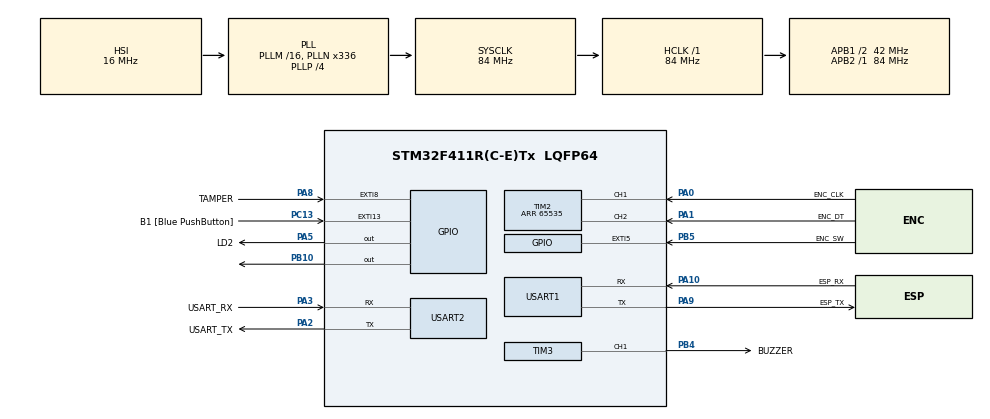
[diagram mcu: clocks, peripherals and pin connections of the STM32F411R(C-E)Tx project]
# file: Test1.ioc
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Mcu.Family=STM32F4
Mcu.Name=STM32F411R(C-E)Tx
Mcu.Package=LQFP64
NVIC.EXTI9_5_IRQn=true\:0\:0\:false\:false\:true\:true\:true\:true
NVIC.PriorityGroup=NVIC_PRIORITYGROUP_0
PA0-WKUP.GPIO_Label=ENC_CLK
PA0-WKUP.GPIO_PuPd=GPIO_PULLUP
PA0-WKUP.Signal=S_TIM2_CH1_ETR
PA1.GPIO_Label=ENC_DT
PA1.GPIO_PuPd=GPIO_PULLUP
PA1.Signal=S_TIM2_CH2
PA10.GPIO_Label=ESP_RX
PA10.Mode=Asynchronous
PA10.Signal=USART1_RX
PA13.Signal=SYS_JTMS-SWDIO
PA14.Signal=SYS_JTCK-SWCLK
PA2.GPIO_Label=USART_TX
PA2.Mode=Asynchronous
PA2.Signal=USART2_TX
PA3.GPIO_Label=USART_RX
PA3.Mode=Asynchronous
PA3.Signal=USART2_RX
PA5.GPIO_Label=LD2
PA5.Signal=GPIO_Output
PA8.GPIO_Label=TAMPER
PA8.GPIO_ModeDefaultEXTI=GPIO_MODE_IT_RISING_FALLING
PA8.GPIO_PuPd=GPIO_PULLUP
PA8.Signal=GPXTI8
PA9.GPIO_Label=ESP_TX
PA9.Mode=Asynchronous
PA9.Signal=USART1_TX
PB10.Signal=GPIO_Output
PB3.GPIO_Label=SWO
PB3.Signal=SYS_JTDO-SWO
PB4.GPIO_Label=BUZZER
PB4.Signal=S_TIM3_CH1
PB5.GPIO_Label=ENC_SW
PB5.GPIO_ModeDefaultEXTI=GPIO_MODE_IT_FALLING
PB5.GPIO_PuPd=GPIO_PULLUP
PB5.Signal=GPXTI5
PC13-ANTI_TAMP.GPIO_Label=B1 [Blue PushButton]
PC13-ANTI_TAMP.GPIO_ModeDefaultEXTI=GPIO_MODE_IT_FALLING
PC13-ANTI_TAMP.Signal=GPXTI13
PC14-OSC32_IN.Mode=LSE-External-Oscillator
PC14-OSC32_IN.Signal=RCC_OSC32_IN
PC15-OSC32_OUT.Mode=LSE-External-Oscillator
PC15-OSC32_OUT.Signal=RCC_OSC32_OUT
PH0\ -\ OSC_IN.Mode=HSE-External-Clock-Source
PH0\ -\ OSC_IN.Signal=RCC_OSC_IN
PH1\ -\ OSC_OUT.Mode=HSE-External-Clock-Source
PH1\ -\ OSC_OUT.Signal=RCC_OSC_OUT
ProjectManager.HeapSize=0x200
ProjectManager.StackSize=0x400
ProjectManager.TargetToolchain=STM32CubeIDE
RCC.48MHZClocksFreq_Value=84000000
RCC.AHBFreq_Value=84000000
RCC.APB1CLKDivider=RCC_HCLK_DIV2
RCC.APB1Freq_Value=42000000
RCC.APB1TimFreq_Value=84000000
RCC.APB2Freq_Value=84000000
RCC.APB2TimFreq_Value=84000000
RCC.CortexFreq_Value=84000000
RCC.FLatency-AdvancedSettings=FLASH_LATENCY_2
RCC.HCLKFreq_Value=84000000
RCC.HSE_VALUE=8000000
RCC.HSI_VALUE=16000000
RCC.PLLN=336
RCC.PLLP=RCC_PLLP_DIV4
RCC.SYSCLKFreq_VALUE=84000000
RCC.SYSCLKSource=RCC_SYSCLKSOURCE_PLLCLK
RCC.VCOOutputFreq_Value=336000000
SH.S_TIM2_CH1_ETR.0=TIM2_CH1,Encoder_Interface
SH.S_TIM2_CH2.0=TIM2_CH2,Encoder_Interface
SH.S_TIM3_CH1.0=TIM3_CH1,PWM Generation1 CH1
TIM2.EncoderMode=TIM_ENCODERMODE_TI12
TIM2.IC1Filter=15
TIM2.IC2Filter=15
TIM2.Period=65535
TIM3.AutoReloadPreload=TIM_AUTORELOAD_PRELOAD_ENABLE
TIM3.Channel-PWM\ Generation1\ CH1=TIM_CHANNEL_1
TIM3.Period=999
TIM3.Prescaler=83
TIM3.Pulse-PWM\ Generation1\ CH1=500
USART1.VirtualMode=VM_ASYNC
USART2.VirtualMode=VM_ASYNC
VP_TIM3_VS_ClockSourceINT.Mode=Internal
board=NUCLEO-F411RE

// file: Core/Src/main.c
/* USER CODE BEGIN Header */
/**
  ******************************************************************************
  * @file           : main.c
  * @brief          : Main program body
  ******************************************************************************
  * @attention
  *
  * Copyright (c) 2026 STMicroelectronics.
  * All rights reserved.
  *
  * This software is licensed under terms that can be found in the LICENSE file
  * in the root directory of this software component.
  * If no LICENSE file comes with this software, it is provided AS-IS.
  *
  ******************************************************************************
  */
/* USER CODE END Header */
#include "main.h"

/* USER CODE BEGIN Includes */
#include <stdio.h>
#include <string.h>
/* USER CODE END Includes */

/* USER CODE BEGIN PD */
/* Select which device test runs. Add one mode per device as it is brought up. */
#define TEST_SMOKE      0   /* LD2 blink + USART2 log + B1 poll */
#define TEST_KY040      1   /* TIM2 encoder (PA0/PA1) + push switch (PB5) */
#define TEST_KY002      2   /* Vibration/tamper switch on PA8 (EXTI both edges) */
#define TEST_KY006      3   /* Passive buzzer on PB4 (TIM3_CH1 PWM) */
#define TEST_UART_LINK  4   /* USART1 PA9/PA10 <-> ESP32-S3 PING/PONG */
#define TEST_MODE       TEST_UART_LINK

#define SMOKE_PERIOD_MS 500U

/* KY-040: 4 quadrature edges per detent in TI1+TI2 (x4) mode. */
#define ENC_COUNTS_PER_DETENT 4
#define ENC_SW_DEBOUNCE_MS    20U
/* 1 = also log raw CLK/DT pin levels on every change (wiring diagnostic). */
#define ENC_PIN_DIAG          0

/* KY-002: a shake produces a burst of edges; the event ends after this
 * much silence. Status line is printed periodically to show the idle level. */
#define TAMPER_QUIET_MS       200U
#define TAMPER_STATUS_MS      5000U

/* KY-006 is driven straight from PB4 with no series resistor, so keep duty
 * low (limits average pin current) and every beep short. TIM3 tick = 1 MHz
 * (PSC=83 in .ioc); frequency is set by changing ARR at runtime. */
#define BUZZER_TICK_HZ        1000000U
#define BUZZER_DUTY_PERCENT   10U
#define BUZZER_MIN_HZ         100U
#define BUZZER_MAX_HZ         10000U
#define BUZZER_MAX_BEEP_MS    300U

/* UART link test (test-only line protocol, not the vault data contract).
 * RX is polled right after each PING, before any USART2 logging, so no
 * USART1 interrupt is needed for this test. */
#define LINK_PING_PERIOD_MS   1000U
#define LINK_REPLY_TIMEOUT_MS 100U
#define LINK_LINE_MAX         32U
#define LINK_STATS_EVERY      10U
/* USER CODE END PD */

TIM_HandleTypeDef htim2;
TIM_HandleTypeDef htim3;

UART_HandleTypeDef huart1;
UART_HandleTypeDef huart2;

/* USER CODE BEGIN PV */
/* Incremented in EXTI ISR; only used to confirm the PB5 interrupt fires. */
static volatile uint32_t enc_sw_irq_count = 0U;
/* Written in EXTI ISR, read in KY002_Test_Loop (32-bit reads are atomic). */
static volatile uint32_t tamper_edge_count = 0U;
static volatile uint32_t tamper_last_edge_tick = 0U;
/* USER CODE END PV */

void SystemClock_Config(void);
static void MX_GPIO_Init(void);
static void MX_USART2_UART_Init(void);
static void MX_TIM2_Init(void);
static void MX_TIM3_Init(void);
static void MX_USART1_UART_Init(void);
/* USER CODE BEGIN PFP */
/* Only one test loop is compiled in per TEST_MODE; silence the others. */
static void Smoke_Test_Loop(void) __attribute__((unused));
static void KY040_Test_Loop(void) __attribute__((unused));
static void KY002_Test_Loop(void) __attribute__((unused));
static void KY006_Test_Loop(void) __attribute__((unused));
static void Buzzer_Off(void) __attribute__((unused));
static void Buzzer_Beep(uint32_t freq_hz, uint32_t duration_ms) __attribute__((unused));
static void UartLink_Test_Loop(void) __attribute__((unused));
/* USER CODE END PFP */

/* USER CODE BEGIN 0 */
/* Route printf() to USART2 (ST-LINK virtual COM port). */
int __io_putchar(int ch)
{
  uint8_t c = (uint8_t)ch;
  HAL_UART_Transmit(&huart2, &c, 1U, HAL_MAX_DELAY);
  return ch;
}
/* USER CODE END 0 */

int main(void)
{

  /* MCU Configuration--------------------------------------------------------*/

  /* Reset of all peripherals, Initializes the Flash interface and the Systick. */
  HAL_Init();

  /* Configure the system clock */
  SystemClock_Config();

  /* Initialize all configured peripherals */
  MX_GPIO_Init();
  MX_USART2_UART_Init();
  MX_TIM2_Init();
  MX_TIM3_Init();
  MX_USART1_UART_Init();
  /* USER CODE BEGIN 2 */
  setvbuf(stdout, NULL, _IONBF, 0);
  printf("\r\n[DevTest] boot, SYSCLK=%lu Hz, TEST_MODE=%d\r\n",
         HAL_RCC_GetSysClockFreq(), TEST_MODE);
#if TEST_MODE == TEST_KY040
  if (HAL_TIM_Encoder_Start(&htim2, TIM_CHANNEL_ALL) != HAL_OK)
  {
    Error_Handler();
  }
  printf("[KY040] ready: rotate knob / press shaft\r\n");
#elif TEST_MODE == TEST_KY002
  printf("[KY002] ready: idle level=%d, tap/shake the sensor\r\n",
         (HAL_GPIO_ReadPin(TAMPER_GPIO_Port, TAMPER_Pin) == GPIO_PIN_SET) ? 1 : 0);
#elif TEST_MODE == TEST_KY006
  /* Start PWM silent (CCR=0); Buzzer_Beep() sets ARR/CCR per tone. */
  Buzzer_Off();
  if (HAL_TIM_PWM_Start(&htim3, TIM_CHANNEL_1) != HAL_OK)
  {
    Error_Handler();
  }
  printf("[KY006] ready: duty=%u%%, press B1 (blue) to replay the sequence\r\n",
         BUZZER_DUTY_PERCENT);
#elif TEST_MODE == TEST_UART_LINK
  /* DWT cycle counter gives microsecond round-trip timing. */
  CoreDebug->DEMCR |= CoreDebug_DEMCR_TRCENA_Msk;
  DWT->CYCCNT = 0U;
  DWT->CTRL |= DWT_CTRL_CYCCNTENA_Msk;
  printf("[LINK] ready: USART1 %lu baud, PING every %u ms\r\n",
         huart1.Init.BaudRate, LINK_PING_PERIOD_MS);
#endif
  /* USER CODE END 2 */

  /* Infinite loop */
  while (1)
  {

    /* USER CODE BEGIN 3 */
#if TEST_MODE == TEST_SMOKE
    Smoke_Test_Loop();
#elif TEST_MODE == TEST_KY040
    KY040_Test_Loop();
#elif TEST_MODE == TEST_KY002
    KY002_Test_Loop();
#elif TEST_MODE == TEST_KY006
    KY006_Test_Loop();
#elif TEST_MODE == TEST_UART_LINK
    UartLink_Test_Loop();
#endif
  }
  /* USER CODE END 3 */
}

void SystemClock_Config(void)
{
  RCC_OscInitTypeDef RCC_OscInitStruct = {0};
  RCC_ClkInitTypeDef RCC_ClkInitStruct = {0};

  /** Configure the main internal regulator output voltage
  */
  __HAL_RCC_PWR_CLK_ENABLE();
  __HAL_PWR_VOLTAGESCALING_CONFIG(PWR_REGULATOR_VOLTAGE_SCALE1);

  /** Initializes the RCC Oscillators according to the specified parameters
  * in the RCC_OscInitTypeDef structure.
  */
  RCC_OscInitStruct.OscillatorType = RCC_OSCILLATORTYPE_HSI;
  RCC_OscInitStruct.HSIState = RCC_HSI_ON;
  RCC_OscInitStruct.HSICalibrationValue = RCC_HSICALIBRATION_DEFAULT;
  RCC_OscInitStruct.PLL.PLLState = RCC_PLL_ON;
  RCC_OscInitStruct.PLL.PLLSource = RCC_PLLSOURCE_HSI;
  RCC_OscInitStruct.PLL.PLLM = 16;
  RCC_OscInitStruct.PLL.PLLN = 336;
  RCC_OscInitStruct.PLL.PLLP = RCC_PLLP_DIV4;
  RCC_OscInitStruct.PLL.PLLQ = 4;
  if (HAL_RCC_OscConfig(&RCC_OscInitStruct) != HAL_OK)
  {
    Error_Handler();
  }

  /** Initializes the CPU, AHB and APB buses clocks
  */
  RCC_ClkInitStruct.ClockType = RCC_CLOCKTYPE_HCLK|RCC_CLOCKTYPE_SYSCLK
                              |RCC_CLOCKTYPE_PCLK1|RCC_CLOCKTYPE_PCLK2;
  RCC_ClkInitStruct.SYSCLKSource = RCC_SYSCLKSOURCE_PLLCLK;
  RCC_ClkInitStruct.AHBCLKDivider = RCC_SYSCLK_DIV1;
  RCC_ClkInitStruct.APB1CLKDivider = RCC_HCLK_DIV2;
  RCC_ClkInitStruct.APB2CLKDivider = RCC_HCLK_DIV1;

  if (HAL_RCC_ClockConfig(&RCC_ClkInitStruct, FLASH_LATENCY_2) != HAL_OK)
  {
    Error_Handler();
  }
}

static void MX_TIM2_Init(void)
{

  TIM_Encoder_InitTypeDef sConfig = {0};
  TIM_MasterConfigTypeDef sMasterConfig = {0};

  htim2.Instance = TIM2;
  htim2.Init.Prescaler = 0;
  htim2.Init.CounterMode = TIM_COUNTERMODE_UP;
  htim2.Init.Period = 65535;
  htim2.Init.ClockDivision = TIM_CLOCKDIVISION_DIV1;
  htim2.Init.AutoReloadPreload = TIM_AUTORELOAD_PRELOAD_DISABLE;
  sConfig.EncoderMode = TIM_ENCODERMODE_TI12;
  sConfig.IC1Polarity = TIM_ICPOLARITY_RISING;
  sConfig.IC1Selection = TIM_ICSELECTION_DIRECTTI;
  sConfig.IC1Prescaler = TIM_ICPSC_DIV1;
  sConfig.IC1Filter = 15;
  sConfig.IC2Polarity = TIM_ICPOLARITY_RISING;
  sConfig.IC2Selection = TIM_ICSELECTION_DIRECTTI;
  sConfig.IC2Prescaler = TIM_ICPSC_DIV1;
  sConfig.IC2Filter = 15;
  if (HAL_TIM_Encoder_Init(&htim2, &sConfig) != HAL_OK)
  {
    Error_Handler();
  }
  sMasterConfig.MasterOutputTrigger = TIM_TRGO_RESET;
  sMasterConfig.MasterSlaveMode = TIM_MASTERSLAVEMODE_DISABLE;
  if (HAL_TIMEx_MasterConfigSynchronization(&htim2, &sMasterConfig) != HAL_OK)
  {
    Error_Handler();
  }

}

static void MX_TIM3_Init(void)
{

  TIM_ClockConfigTypeDef sClockSourceConfig = {0};
  TIM_MasterConfigTypeDef sMasterConfig = {0};
  TIM_OC_InitTypeDef sConfigOC = {0};

  htim3.Instance = TIM3;
  htim3.Init.Prescaler = 83;
  htim3.Init.CounterMode = TIM_COUNTERMODE_UP;
  htim3.Init.Period = 999;
  htim3.Init.ClockDivision = TIM_CLOCKDIVISION_DIV1;
  htim3.Init.AutoReloadPreload = TIM_AUTORELOAD_PRELOAD_ENABLE;
  if (HAL_TIM_Base_Init(&htim3) != HAL_OK)
  {
    Error_Handler();
  }
  sClockSourceConfig.ClockSource = TIM_CLOCKSOURCE_INTERNAL;
  if (HAL_TIM_ConfigClockSource(&htim3, &sClockSourceConfig) != HAL_OK)
  {
    Error_Handler();
  }
  if (HAL_TIM_PWM_Init(&htim3) != HAL_OK)
  {
    Error_Handler();
  }
  sMasterConfig.MasterOutputTrigger = TIM_TRGO_RESET;
  sMasterConfig.MasterSlaveMode = TIM_MASTERSLAVEMODE_DISABLE;
  if (HAL_TIMEx_MasterConfigSynchronization(&htim3, &sMasterConfig) != HAL_OK)
  {
    Error_Handler();
  }
  sConfigOC.OCMode = TIM_OCMODE_PWM1;
  sConfigOC.Pulse = 500;
  sConfigOC.OCPolarity = TIM_OCPOLARITY_HIGH;
  sConfigOC.OCFastMode = TIM_OCFAST_DISABLE;
  if (HAL_TIM_PWM_ConfigChannel(&htim3, &sConfigOC, TIM_CHANNEL_1) != HAL_OK)
  {
    Error_Handler();
  }
  HAL_TIM_MspPostInit(&htim3);

}

static void MX_USART1_UART_Init(void)
{

  huart1.Instance = USART1;
  huart1.Init.BaudRate = 115200;
  huart1.Init.WordLength = UART_WORDLENGTH_8B;
  huart1.Init.StopBits = UART_STOPBITS_1;
  huart1.Init.Parity = UART_PARITY_NONE;
  huart1.Init.Mode = UART_MODE_TX_RX;
  huart1.Init.HwFlowCtl = UART_HWCONTROL_NONE;
  huart1.Init.OverSampling = UART_OVERSAMPLING_16;
  if (HAL_UART_Init(&huart1) != HAL_OK)
  {
    Error_Handler();
  }

}

static void MX_USART2_UART_Init(void)
{

  huart2.Instance = USART2;
  huart2.Init.BaudRate = 115200;
  huart2.Init.WordLength = UART_WORDLENGTH_8B;
  huart2.Init.StopBits = UART_STOPBITS_1;
  huart2.Init.Parity = UART_PARITY_NONE;
  huart2.Init.Mode = UART_MODE_TX_RX;
  huart2.Init.HwFlowCtl = UART_HWCONTROL_NONE;
  huart2.Init.OverSampling = UART_OVERSAMPLING_16;
  if (HAL_UART_Init(&huart2) != HAL_OK)
  {
    Error_Handler();
  }

}

static void MX_GPIO_Init(void)
{
  GPIO_InitTypeDef GPIO_InitStruct = {0};

  /* GPIO Ports Clock Enable */
  __HAL_RCC_GPIOC_CLK_ENABLE();
  __HAL_RCC_GPIOH_CLK_ENABLE();
  __HAL_RCC_GPIOA_CLK_ENABLE();
  __HAL_RCC_GPIOB_CLK_ENABLE();

  /*Configure GPIO pin Output Level */
  HAL_GPIO_WritePin(LD2_GPIO_Port, LD2_Pin, GPIO_PIN_RESET);

  /*Configure GPIO pin Output Level */
  HAL_GPIO_WritePin(GPIOB, GPIO_PIN_10, GPIO_PIN_RESET);

  /*Configure GPIO pin : B1_Pin */
  GPIO_InitStruct.Pin = B1_Pin;
  GPIO_InitStruct.Mode = GPIO_MODE_IT_FALLING;
  GPIO_InitStruct.Pull = GPIO_NOPULL;
  HAL_GPIO_Init(B1_GPIO_Port, &GPIO_InitStruct);

  /*Configure GPIO pin : LD2_Pin */
  GPIO_InitStruct.Pin = LD2_Pin;
  GPIO_InitStruct.Mode = GPIO_MODE_OUTPUT_PP;
  GPIO_InitStruct.Pull = GPIO_NOPULL;
  GPIO_InitStruct.Speed = GPIO_SPEED_FREQ_LOW;
  HAL_GPIO_Init(LD2_GPIO_Port, &GPIO_InitStruct);

  /*Configure GPIO pin : PB10 */
  GPIO_InitStruct.Pin = GPIO_PIN_10;
  GPIO_InitStruct.Mode = GPIO_MODE_OUTPUT_PP;
  GPIO_InitStruct.Pull = GPIO_NOPULL;
  GPIO_InitStruct.Speed = GPIO_SPEED_FREQ_LOW;
  HAL_GPIO_Init(GPIOB, &GPIO_InitStruct);

  /*Configure GPIO pin : TAMPER_Pin */
  GPIO_InitStruct.Pin = TAMPER_Pin;
  GPIO_InitStruct.Mode = GPIO_MODE_IT_RISING_FALLING;
  GPIO_InitStruct.Pull = GPIO_PULLUP;
  HAL_GPIO_Init(TAMPER_GPIO_Port, &GPIO_InitStruct);

  /*Configure GPIO pin : ENC_SW_Pin */
  GPIO_InitStruct.Pin = ENC_SW_Pin;
  GPIO_InitStruct.Mode = GPIO_MODE_IT_FALLING;
  GPIO_InitStruct.Pull = GPIO_PULLUP;
  HAL_GPIO_Init(ENC_SW_GPIO_Port, &GPIO_InitStruct);

  /* EXTI interrupt init*/
  HAL_NVIC_SetPriority(EXTI9_5_IRQn, 0, 0);
  HAL_NVIC_EnableIRQ(EXTI9_5_IRQn);

}

/* USER CODE BEGIN 4 */
/* Non-blocking: toggles LD2 and logs every SMOKE_PERIOD_MS; reports B1 edges. */
static void Smoke_Test_Loop(void)
{
  static uint32_t last_tick = 0U;
  static uint32_t count = 0U;
  static GPIO_PinState last_b1 = GPIO_PIN_SET;

  GPIO_PinState b1 = HAL_GPIO_ReadPin(B1_GPIO_Port, B1_Pin);
  if (b1 != last_b1)
  {
    /* B1 is active-low on Nucleo. */
    printf("[DevTest] B1 %s\r\n", (b1 == GPIO_PIN_RESET) ? "PRESSED" : "RELEASED");
    last_b1 = b1;
  }

  uint32_t now = HAL_GetTick();
  if ((now - last_tick) >= SMOKE_PERIOD_MS)
  {
    last_tick = now;
    HAL_GPIO_TogglePin(LD2_GPIO_Port, LD2_Pin);
    printf("[DevTest] alive #%lu t=%lu ms\r\n", count++, now);
  }
}

/* EXTI9_5 is shared (PB5 encoder switch, PA8 tamper later): filter by pin. */
void HAL_GPIO_EXTI_Callback(uint16_t GPIO_Pin)
{
  if (GPIO_Pin == ENC_SW_Pin)
  {
    enc_sw_irq_count++;
  }
  else if (GPIO_Pin == TAMPER_Pin)
  {
    tamper_edge_count++;
    tamper_last_edge_tick = HAL_GetTick();
  }
}

/* Groups EXTI edge bursts from the vibration switch into tamper events:
 * an event starts on the first edge and ends after TAMPER_QUIET_MS of silence.
 * LD2 is on while an event is active. */
static void KY002_Test_Loop(void)
{
  static uint32_t seen_edges = 0U;
  static uint32_t event_start_edges = 0U;
  static uint32_t event_start_tick = 0U;
  static uint32_t event_count = 0U;
  static uint8_t in_event = 0U;
  static uint32_t last_status_tick = 0U;

  uint32_t now = HAL_GetTick();
  uint32_t edges = tamper_edge_count;
  uint32_t last_edge = tamper_last_edge_tick;

  if (edges != seen_edges)
  {
    if (!in_event)
    {
      in_event = 1U;
      event_count++;
      event_start_edges = seen_edges;
      event_start_tick = now;
      HAL_GPIO_WritePin(LD2_GPIO_Port, LD2_Pin, GPIO_PIN_SET);
      printf("[KY002] TAMPER #%lu START\r\n", event_count);
    }
    seen_edges = edges;
  }

  if (in_event && ((now - last_edge) >= TAMPER_QUIET_MS))
  {
    in_event = 0U;
    HAL_GPIO_WritePin(LD2_GPIO_Port, LD2_Pin, GPIO_PIN_RESET);
    printf("[KY002] TAMPER #%lu END   edges=%lu duration=%lu ms level=%d\r\n",
           event_count, seen_edges - event_start_edges, last_edge - event_start_tick,
           (HAL_GPIO_ReadPin(TAMPER_GPIO_Port, TAMPER_Pin) == GPIO_PIN_SET) ? 1 : 0);
  }

  if (!in_event && ((now - last_status_tick) >= TAMPER_STATUS_MS))
  {
    last_status_tick = now;
    printf("[KY002] idle level=%d events=%lu total_edges=%lu\r\n",
           (HAL_GPIO_ReadPin(TAMPER_GPIO_Port, TAMPER_Pin) == GPIO_PIN_SET) ? 1 : 0,
           event_count, seen_edges);
  }
}

/* Logs every detent from TIM2->CNT and the debounced switch level.
 * Switch state comes from a debounced level read, so it works whatever
 * EXTI edge is configured; the IRQ count is printed only as a diagnostic. */
static void KY040_Test_Loop(void)
{
  static uint16_t last_cnt = 0U;
  static int32_t raw_total = 0;
  static int32_t anchor_raw = 0;   /* raw count at the last reported detent */
  static int32_t detent = 0;
  static GPIO_PinState sw_stable = GPIO_PIN_SET;
  static GPIO_PinState sw_candidate = GPIO_PIN_SET;
  static uint32_t sw_change_tick = 0U;

  uint32_t now = HAL_GetTick();

#if ENC_PIN_DIAG
  static int last_pins = -1;
  int clk = (HAL_GPIO_ReadPin(ENC_CLK_GPIO_Port, ENC_CLK_Pin) == GPIO_PIN_SET) ? 1 : 0;
  int dt = (HAL_GPIO_ReadPin(ENC_DT_GPIO_Port, ENC_DT_Pin) == GPIO_PIN_SET) ? 1 : 0;
  int pins = (clk << 1) | dt;
  if (pins != last_pins)
  {
    printf("[KY040] pins CLK=%d DT=%d CNT=%lu raw=%ld anchor=%ld\r\n", clk, dt,
           (unsigned long)__HAL_TIM_GET_COUNTER(&htim2), raw_total, anchor_raw);
    last_pins = pins;
  }
#endif

  /* 16-bit wrap-safe delta: Counter Period is 65535. */
  uint16_t cnt = (uint16_t)__HAL_TIM_GET_COUNTER(&htim2);
  int16_t delta = (int16_t)(uint16_t)(cnt - last_cnt);
  if (delta != 0)
  {
    last_cnt = cnt;
    raw_total += delta;
  }

  /* Hysteresis: step only after a full detent of travel from the last step,
   * so half-click rocking never counts. Uses TIM2 counts only: raw GPIO reads
   * run ~1 count ahead of the filtered timer and must not drive the anchor. */
  while ((raw_total - anchor_raw) >= ENC_COUNTS_PER_DETENT ||
         (raw_total - anchor_raw) <= -ENC_COUNTS_PER_DETENT)
  {
    int32_t dir = (raw_total > anchor_raw) ? 1 : -1;
    anchor_raw += dir * ENC_COUNTS_PER_DETENT;
    detent += dir;
    printf("[KY040] %s detent=%ld raw=%ld CNT=%u\r\n",
           (dir > 0) ? "UP  " : "DOWN", detent, raw_total, cnt);
    HAL_GPIO_TogglePin(LD2_GPIO_Port, LD2_Pin);
  }

  GPIO_PinState sw = HAL_GPIO_ReadPin(ENC_SW_GPIO_Port, ENC_SW_Pin);
  if (sw != sw_candidate)
  {
    sw_candidate = sw;
    sw_change_tick = now;
  }
  else if ((sw_candidate != sw_stable) && ((now - sw_change_tick) >= ENC_SW_DEBOUNCE_MS))
  {
    sw_stable = sw_candidate;
    /* KY-040 SW is active-low. */
    printf("[KY040] SW %s (irq_count=%lu)\r\n",
           (sw_stable == GPIO_PIN_RESET) ? "PRESSED" : "RELEASED",
           enc_sw_irq_count);
  }
}

static void Buzzer_Off(void)
{
  __HAL_TIM_SET_COMPARE(&htim3, TIM_CHANNEL_1, 0U);
}

/* Blocking tone at BUZZER_DUTY_PERCENT; frequency and length are clamped so
 * the unbuffered pin is never driven for long. */
static void Buzzer_Beep(uint32_t freq_hz, uint32_t duration_ms)
{
  if (freq_hz < BUZZER_MIN_HZ) freq_hz = BUZZER_MIN_HZ;
  if (freq_hz > BUZZER_MAX_HZ) freq_hz = BUZZER_MAX_HZ;
  if (duration_ms > BUZZER_MAX_BEEP_MS) duration_ms = BUZZER_MAX_BEEP_MS;

  uint32_t period = BUZZER_TICK_HZ / freq_hz;   /* ticks per cycle = ARR + 1 */
  __HAL_TIM_SET_AUTORELOAD(&htim3, period - 1U);
  __HAL_TIM_SET_COMPARE(&htim3, TIM_CHANNEL_1, (period * BUZZER_DUTY_PERCENT) / 100U);
  /* Load the preloaded ARR/CCR now instead of at the next update event. */
  HAL_TIM_GenerateEvent(&htim3, TIM_EVENTSOURCE_UPDATE);

  HAL_Delay(duration_ms);
  Buzzer_Off();
}

/* Plays a frequency sweep, then the beep patterns planned for the vault.
 * Runs once at boot and again on every B1 press. */
static void KY006_Test_Loop(void)
{
  static const uint16_t sweep_hz[] = { 500U, 1000U, 2000U, 2700U, 4000U };
  static uint8_t run_pending = 1U;
  static GPIO_PinState last_b1 = GPIO_PIN_SET;

  GPIO_PinState b1 = HAL_GPIO_ReadPin(B1_GPIO_Port, B1_Pin);
  if ((b1 == GPIO_PIN_RESET) && (last_b1 == GPIO_PIN_SET))
  {
    run_pending = 1U;
  }
  last_b1 = b1;

  if (!run_pending)
  {
    return;
  }
  run_pending = 0U;
  HAL_GPIO_WritePin(LD2_GPIO_Port, LD2_Pin, GPIO_PIN_SET);

  for (uint32_t i = 0U; i < (sizeof(sweep_hz) / sizeof(sweep_hz[0])); i++)
  {
    printf("[KY006] sweep %u Hz\r\n", sweep_hz[i]);
    Buzzer_Beep(sweep_hz[i], 200U);
    HAL_Delay(400U);
  }

  printf("[KY006] pattern OK (2 short high)\r\n");
  Buzzer_Beep(2700U, 80U);
  HAL_Delay(80U);
  Buzzer_Beep(2700U, 80U);
  HAL_Delay(800U);

  printf("[KY006] pattern ERROR (1 long low)\r\n");
  Buzzer_Beep(500U, 300U);
  HAL_Delay(800U);

  printf("[KY006] pattern ALARM (two-tone x6)\r\n");
  for (uint32_t i = 0U; i < 6U; i++)
  {
    Buzzer_Beep(((i % 2U) == 0U) ? 2000U : 3000U, 150U);
  }

  HAL_GPIO_WritePin(LD2_GPIO_Port, LD2_Pin, GPIO_PIN_RESET);
  printf("[KY006] done - press B1 to replay\r\n");
}

/* Sends "PING <n>\n" on USART1 every LINK_PING_PERIOD_MS and expects
 * "PONG <n>\n" back within LINK_REPLY_TIMEOUT_MS. Logs OK / BAD / TIMEOUT
 * with round-trip time; LD2 toggles on every good reply. */
static void UartLink_Test_Loop(void)
{
  static uint32_t last_ping_tick = 0U;
  static uint32_t seq = 0U;
  static uint32_t ok_count = 0U;
  static uint32_t bad_count = 0U;
  static uint32_t timeout_count = 0U;

  uint32_t now = HAL_GetTick();
  if ((now - last_ping_tick) < LINK_PING_PERIOD_MS)
  {
    return;
  }
  last_ping_tick = now;
  seq++;

  char tx[LINK_LINE_MAX];
  char expected[LINK_LINE_MAX];
  char rx[LINK_LINE_MAX];
  int tx_len = snprintf(tx, sizeof(tx), "PING %lu\n", seq);
  snprintf(expected, sizeof(expected), "PONG %lu", seq);

  /* Drop stale bytes / overrun left from before this exchange. */
  __HAL_UART_CLEAR_OREFLAG(&huart1);
  uint8_t junk;
  while (HAL_UART_Receive(&huart1, &junk, 1U, 0U) == HAL_OK) { }

  uint32_t t0 = DWT->CYCCNT;
  if (HAL_UART_Transmit(&huart1, (uint8_t *)tx, (uint16_t)tx_len, 10U) != HAL_OK)
  {
    printf("[LINK] #%lu TX failed\r\n", seq);
    return;
  }

  /* Collect one reply line; no USART2 printing until it is complete. */
  size_t rx_len = 0U;
  uint8_t got_line = 0U;
  uint8_t overflow = 0U;
  uint32_t start_tick = HAL_GetTick();
  while ((HAL_GetTick() - start_tick) < LINK_REPLY_TIMEOUT_MS)
  {
    uint8_t c;
    if (HAL_UART_Receive(&huart1, &c, 1U, 1U) != HAL_OK)
    {
      continue;
    }
    if (c == '\r')
    {
      continue;
    }
    if (c == '\n')
    {
      got_line = 1U;
      break;
    }
    if (rx_len < (sizeof(rx) - 1U))
    {
      rx[rx_len++] = (char)c;
    }
    else
    {
      overflow = 1U;
    }
  }
  uint32_t rtt_us = (DWT->CYCCNT - t0) / (HAL_RCC_GetHCLKFreq() / 1000000U);
  rx[rx_len] = '\0';

  if (!got_line)
  {
    timeout_count++;
    printf("[LINK] #%lu TIMEOUT (partial=\"%s\")\r\n", seq, rx);
  }
  else if (!overflow && (strcmp(rx, expected) == 0))
  {
    ok_count++;
    HAL_GPIO_TogglePin(LD2_GPIO_Port, LD2_Pin);
    printf("[LINK] #%lu OK \"%s\" rtt=%lu us\r\n", seq, rx, rtt_us);
  }
  else
  {
    bad_count++;
    printf("[LINK] #%lu BAD got=\"%s\" expected=\"%s\"%s\r\n",
           seq, rx, expected, overflow ? " (overflow)" : "");
  }

  if ((seq % LINK_STATS_EVERY) == 0U)
  {
    printf("[LINK] stats sent=%lu ok=%lu bad=%lu timeout=%lu\r\n",
           seq, ok_count, bad_count, timeout_count);
  }
}
/* USER CODE END 4 */

void Error_Handler(void)
{
  __disable_irq();
  while (1)
  {
  }
}
